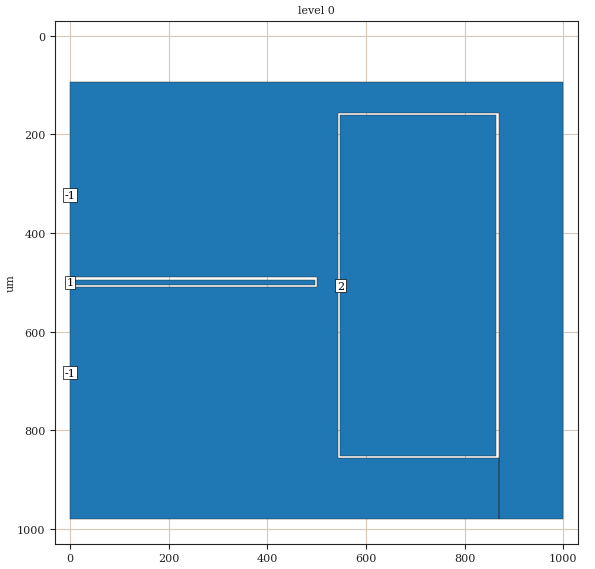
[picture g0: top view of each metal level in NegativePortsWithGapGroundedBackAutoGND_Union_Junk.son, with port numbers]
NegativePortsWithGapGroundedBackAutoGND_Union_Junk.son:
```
FTYP SONPROJ 15 ! Sonnet Project File
VER 16.52
HEADER
LIC calt2.2.43068 b6ae2bd1257f DESKTOP-SL82IK9 Michael
DAT 03/30/2016 18:31:28
BUILT_BY_CREATED xgeom 16.52 03/26/2016 21:21:12
BUILT_BY_SAVED xgeom 16.52
MDATE 03/30/2016 18:31:28
HDATE 03/30/2016 18:31:28
END HEADER
DIM
FREQ GHZ
IND NH
LNG UM
ANG DEG
CON /OH
CAP PF
RES OH
END DIM
FREQ
ABS 1.0 10.0 
END FREQ
CONTROL
ABS
OPTIONS  -d 
SPEED 0
CACHE_ABS 1
TARG_ABS 300
Q_ACC N
END CONTROL
GEO
TMET "Lossless" 0 SUP 0 0 0 0
BMET "Lossless" 0 SUP 0 0 0 0
BOX 1 1000 1000 2000 2000 20 0
      1000 1 1 0 0 0 0 "Air"
      500 11.9 1 5e-006 0 0 0 "Silicon (intrinsic)"
LORGN 0 1000 U 
POR1 STD
POLY 9 1
3
1 50 0 0 0 0 500 
POR1 AGND
POLY 11 1
3
2 50 0 0 0 548.0000082 506.4999917 NONE 
POR1 STD
POLY 14 1
4
-1 50 0 0 0 1.228404986e-005 323.00001 
POR1 STD
POLY 14 1
8
-1 50 0 0 0 1.228404986e-005 682.99999 
NUM 3
0 5 -1 N 9 1 1 100 100 0 0 0 Y
0 495
495.9999938 495
495.9999938 505
0 505
0 495
END
0 5 -1 N 11 1 1 100 100 0 0 0 Y
548.0000082 160.9999996
864.0000436 160.9999996
864.0000436 851.9999838
548.0000082 851.9999838
548.0000082 160.9999996
END
0 21 -1 N 14 1 1 100 100 0 0 0 Y
1000 744
1000 93.00000327
0 93.00000327
0 156
1.228404986e-005 156
1.228404986e-005 490.00002
501 490.00002
501 509.99998
1.228404986e-005 509.99998
1.228404986e-005 856
0 856
0 980
869 980
869 856
543 856
543 156
869 156
869 856
869 980
1000 980
1000 744
END
END GEO
OPT
MAX 100
VARS
END
END OPT
VARSWP
END VARSWP
QSG
IMPORT NO
EXTRA_METAL NO
UNITS YES
ALIGN NO
REF NO
VIEW_RES NO
METALS NO
USED YES
END QSG
```
